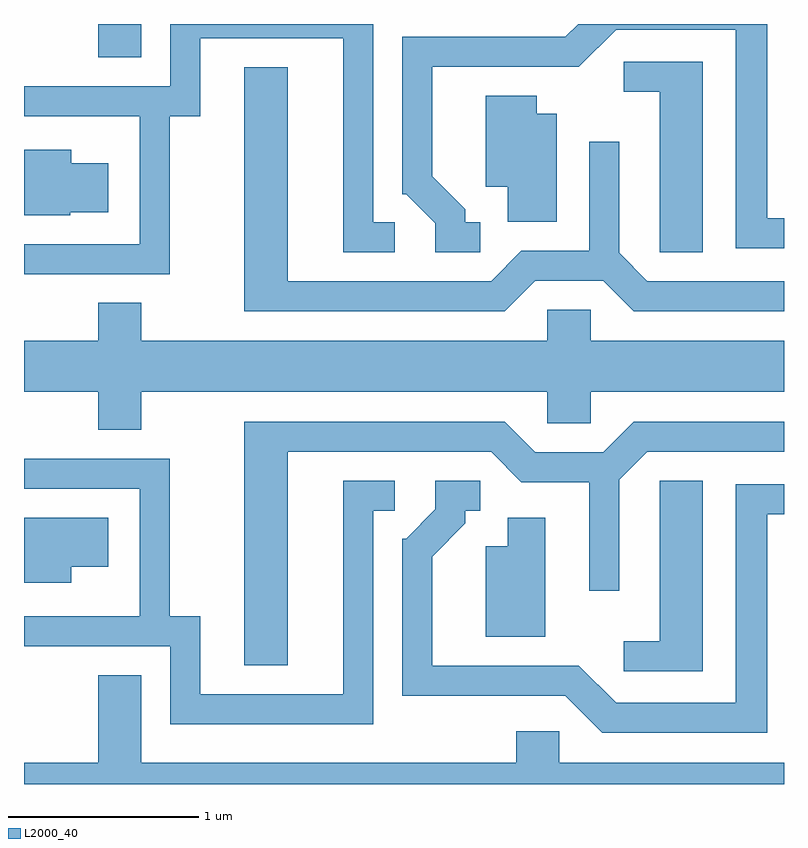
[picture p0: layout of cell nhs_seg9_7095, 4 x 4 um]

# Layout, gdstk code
import gdstk
lib = gdstk.Library(unit=1e-6, precision=1e-09)
def R(c, l, rs):  # rectangles x0, y0, x1, y1
    for r in rs: c.add(gdstk.rectangle(r[:2], r[2:], *l))
def P(c, l, *ps):  # polygons
    for p in ps: c.add(gdstk.Polygon(p, *l))
L2000_40 = (2000, 40)

nhs_seg9_7095 = lib.new_cell('nhs_seg9_7095')
R(nhs_seg9_7095, L2000_40, [(396.001,1980.256,396.229,1980.432)])
P(nhs_seg9_7095, L2000_40, [(398.013,1979.389),(397.934,1979.389),(397.934,1979.457),(397.759,1979.632),(397.759,1980.206),(398.532,1980.206),(398.727,1980.401),(399.356,1980.401),(399.356,1979.251),(399.611,1979.251),(399.611,1979.409),(399.524,1979.409),(399.524,1980.432),(398.527,1980.432),(398.459,1980.364),(397.601,1980.364),(397.601,1979.536),(397.624,1979.536),(397.776,1979.384),(397.776,1979.231),(398.013,1979.231)],
  [(396.379,1979.946),(396.539,1979.946),(396.539,1980.356),(397.291,1980.356),(397.291,1979.231),(397.563,1979.231),(397.563,1979.389),(397.449,1979.389),(397.449,1980.432),(396.381,1980.432),(396.381,1980.104),(395.611,1980.104),(395.611,1979.946),(396.221,1979.946),(396.221,1979.274),(395.611,1979.274),(395.611,1979.116),(396.379,1979.116)],
  [(399.184,1980.234),(398.768,1980.234),(398.768,1980.076),(398.956,1980.076),(398.956,1979.231),(399.184,1979.231)],
  [(398.302,1979.081),(398.659,1979.081),(398.819,1978.921),(399.611,1978.921),(399.611,1979.079),(398.892,1979.079),(398.744,1979.227),(398.744,1979.813),(398.586,1979.813),(398.586,1979.239),(398.229,1979.239),(398.069,1979.079),(396.999,1979.079),(396.999,1980.204),(396.771,1980.204),(396.771,1978.921),(398.142,1978.921)],
  [(398.414,1979.959),(398.309,1979.959),(398.309,1980.054),(398.041,1980.054),(398.041,1979.576),(398.156,1979.576),(398.156,1979.391),(398.414,1979.391)],
  [(395.855,1979.441),(396.054,1979.441),(396.054,1979.699),(395.859,1979.699),(395.859,1979.769),(395.611,1979.769),(395.611,1979.426),(395.855,1979.426)],
  [(396.229,1978.496),(398.366,1978.496),(398.366,1978.331),(398.594,1978.331),(398.594,1978.496),(399.611,1978.496),(399.611,1978.764),(398.594,1978.764),(398.594,1978.929),(398.366,1978.929),(398.366,1978.764),(396.229,1978.764),(396.229,1978.964),(396.001,1978.964),(396.001,1978.764),(395.611,1978.764),(395.611,1978.496),(396.001,1978.496),(396.001,1978.296),(396.229,1978.296)],
  [(396.999,1978.181),(398.069,1978.181),(398.229,1978.021),(398.586,1978.021),(398.586,1977.448),(398.744,1977.448),(398.744,1978.034),(398.892,1978.181),(399.611,1978.181),(399.611,1978.339),(398.819,1978.339),(398.659,1978.179),(398.302,1978.179),(398.142,1978.339),(396.771,1978.339),(396.771,1977.056),(396.999,1977.056)],
  [(397.449,1977.871),(397.563,1977.871),(397.563,1978.029),(397.291,1978.029),(397.291,1976.904),(396.539,1976.904),(396.539,1977.314),(396.379,1977.314),(396.379,1978.144),(395.611,1978.144),(395.611,1977.986),(396.221,1977.986),(396.221,1977.314),(395.611,1977.314),(395.611,1977.156),(396.381,1977.156),(396.381,1976.746),(397.449,1976.746)],
  [(399.524,1977.851),(399.611,1977.851),(399.611,1978.009),(399.356,1978.009),(399.356,1976.859),(398.727,1976.859),(398.532,1977.054),(397.759,1977.054),(397.759,1977.629),(397.934,1977.804),(397.934,1977.871),(398.013,1977.871),(398.013,1978.029),(397.776,1978.029),(397.776,1977.877),(397.624,1977.724),(397.601,1977.724),(397.601,1976.896),(398.459,1976.896),(398.654,1976.701),(399.524,1976.701)],
  [(399.184,1978.029),(398.956,1978.029),(398.956,1977.184),(398.768,1977.184),(398.768,1977.026),(399.184,1977.026)],
  [(395.859,1977.576),(396.054,1977.576),(396.054,1977.834),(395.611,1977.834),(395.611,1977.491),(395.859,1977.491)],
  [(398.354,1977.834),(398.156,1977.834),(398.156,1977.684),(398.041,1977.684),(398.041,1977.206),(398.354,1977.206)],
  [(399.611,1976.544),(398.429,1976.544),(398.429,1976.709),(398.201,1976.709),(398.201,1976.544),(396.229,1976.544),(396.229,1977.004),(396.001,1977.004),(396.001,1976.544),(395.611,1976.544),(395.611,1976.432),(399.611,1976.432)])

lib.write_gds('nhs_seg9_7095.gds')
